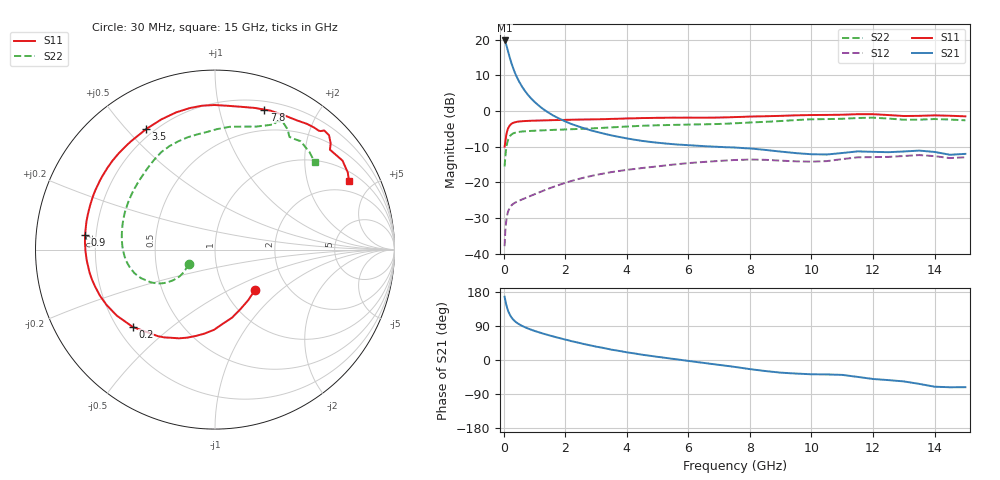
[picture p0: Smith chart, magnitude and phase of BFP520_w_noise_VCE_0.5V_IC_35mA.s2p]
! Infineon Technologies  Discrete & RF Semiconductors
! BFP520
! VCE =  0.5 V,  IC =  35 mA
! Common Emitter S-Parameters:  Oct 2015
# GHz  S  MA  R  50
!  f  S11  S21  S12  S22
! GHz  MAG  ANG  MAG  ANG  MAG  ANG  MAG  ANG
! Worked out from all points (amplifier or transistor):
!   109 points, 30 MHz to 15 GHz, reference 50 ohm
!   highest |S21| = 19.8 dB at 30 MHz (marker M1)
!   |S21| within 3 dB of that: start of sweep to 139.9 MHz
!   unconditionally stable (mu >= 1): start of sweep to end of sweep
!   at 450 MHz: K = 1.40, MAG = 13.5 dB, |S12| = -25.4 dB
!   at 4 GHz: K = 2.46, MAG = -2.3 dB, |S12| = -16.5 dB
!   at 15 GHz: K = 1.76, MAG = -4.6 dB, |S12| = -13.0 dB
!   lowest NFmin = 2.65 dB at 900 MHz
!   S11 on the Smith chart (normalised r, x): 30 MHz: 1.38, -0.68; 200 MHz: 0.26, -0.37; 900 MHz: 0.16, +0.06; 3.5 GHz: 0.17, +0.57; 7.8 GHz: 0.28, +1.38; 15 GHz: 1.39, +3.63
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0.03  0.3158 -44.8  9.73 166.9  0.0127 55.1  0.1661 -151.1
0.04  0.3368 -56.5  9.545 162.6  0.016 56.4  0.1903 -146.9
0.07  0.4178 -84.6  8.82 150.9  0.0252 54.2  0.2679 -143.1
0.1  0.4936 -102.7  7.975 141.2  0.032 49.0  0.3303 -146.0
0.12  0.5335 -112.1  7.414 135.6  0.0356 45.6  0.3634 -148.8
0.15  0.5778 -123.4  6.632 128.5  0.0396 41.5  0.4007 -152.9
0.2  0.6289 -136.7  5.538 119.5  0.0443 36.6  0.4414 -158.8
0.25  0.6594 -146.1  4.7 112.8  0.0473 33.3  0.4666 -163.5
0.3  0.6785 -153.0  4.07 107.6  0.0495 31.3  0.4821 -167.3
0.4  0.6994 -163.0  3.167 99.9  0.0526 29.3  0.4992 -173.0
0.6  0.717 -175.1  2.177 89.9  0.0575 29.1  0.5146 179.4
0.9  0.7287 173.4  1.484 79.7  0.0651 30.9  0.525 171.7
1.2  0.7346 164.9  1.131 71.7  0.0735 32.3  0.5325 165.6
1.6  0.7428 155.4  0.867 62.4  0.0856 32.6  0.5419 158.6
2.6  0.7584 135.2  0.574 42.3  0.1159 27.8  0.563 142.6
3.5  0.7733 119.8  0.454 27.3  0.1388 20.4  0.5885 129.8
5.1  0.8013 99.1  0.355 7.3  0.169 7.2  0.6308 112.8
7.6  0.8219 73.0  0.305 -19.3  0.2057 -16.3  0.6741 87.9
7.8  0.8272 70.6  0.301 -21.7  0.2068 -18.5  0.6808 85.6
10.5  0.8792 48.9  0.245 -38.1  0.198 -34.7  0.7685 64.7
13  0.8484 41.0  0.27 -56.5  0.2334 -54.3  0.7527 56.6
15  0.8397 27.2  0.25 -71.7  0.2241 -69.9  0.7392 41.2
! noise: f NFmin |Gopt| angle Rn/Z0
0.45  2.66  0.09  -142  0.28
0.9  2.65  0.1  -137  0.31
1.9  2.82  0.14  -118  0.32
2.4  2.81  0.16  -115  0.31
3.5  2.77  0.17  -104  0.35
